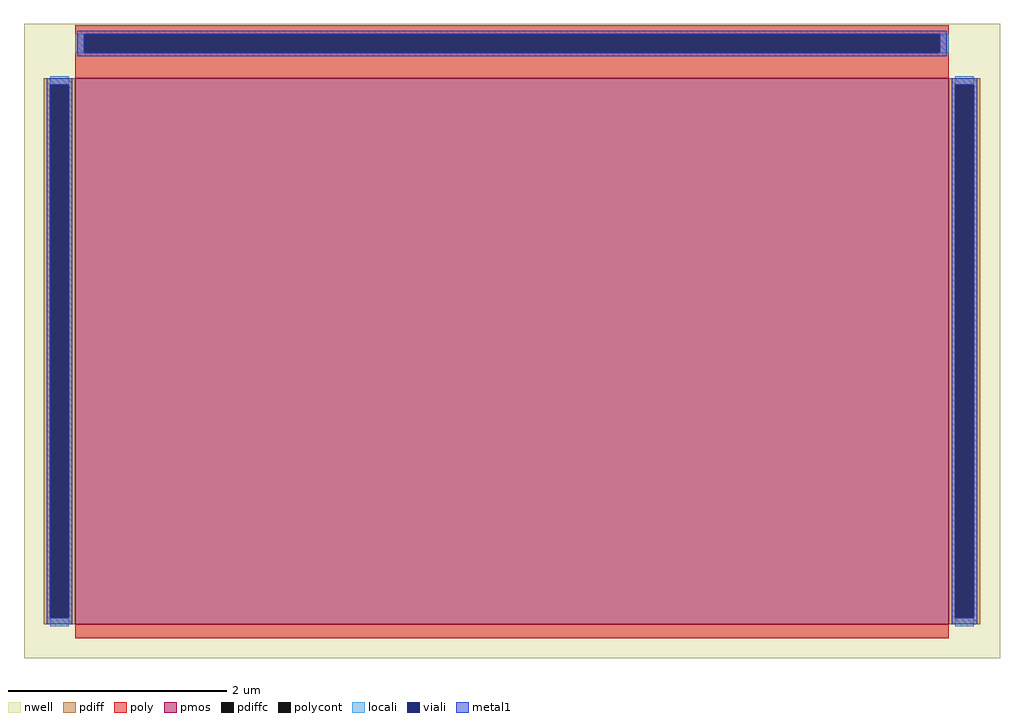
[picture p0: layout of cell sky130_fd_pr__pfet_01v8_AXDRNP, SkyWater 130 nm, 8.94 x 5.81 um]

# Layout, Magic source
magic
tech sky130A
magscale 1 2
<< nwell >>
rect -894 -598 894 564
<< pmos >>
rect -800 -536 800 464
<< pdiff >>
rect -858 452 -800 464
rect -858 -524 -846 452
rect -812 -524 -800 452
rect -858 -536 -800 -524
rect 800 452 858 464
rect 800 -524 812 452
rect 846 -524 858 452
rect 800 -536 858 -524
<< pdiffc >>
rect -846 -524 -812 452
rect 812 -524 846 452
<< poly >>
rect -800 545 800 561
rect -800 511 -784 545
rect 784 511 800 545
rect -800 464 800 511
rect -800 -562 800 -536
<< polycont >>
rect -784 511 784 545
<< locali >>
rect -800 511 -784 545
rect 784 511 800 545
rect -846 452 -812 468
rect -846 -540 -812 -524
rect 812 452 846 468
rect 812 -540 846 -524
<< viali >>
rect -784 511 784 545
rect -846 -524 -812 452
rect 812 -524 846 452
<< metal1 >>
rect -796 545 796 551
rect -796 511 -784 545
rect 784 511 796 545
rect -796 505 796 511
rect -852 452 -806 464
rect -852 -524 -846 452
rect -812 -524 -806 452
rect -852 -536 -806 -524
rect 806 452 852 464
rect 806 -524 812 452
rect 846 -524 852 452
rect 806 -536 852 -524
<< properties >>
string gencell sky130_fd_pr__pfet_01v8
string library sky130
string parameters w 5 l 8 m 1 nf 1 diffcov 100 polycov 100 guard 0 glc 0 grc 0 gtc 0 gbc 0 tbcov 100 rlcov 100 topc 1 botc 0 poverlap 0 doverlap 1 lmin 0.15 wmin 0.42 compatible {sky130_fd_pr__pfet_01v8  sky130_fd_pr__pfet_01v8_lvt sky130_fd_pr__pfet_01v8_hvt  sky130_fd_pr__pfet_g5v0d10v5} full_metal 0 viasrc 100 viadrn 100 viagate 100 viagb 0 viagr 0 viagl 0 viagt 0
string sky130_fd_pr__pfet_01v8_AXDRNP parameters
<< end >>
